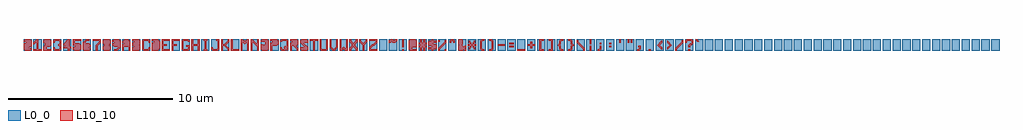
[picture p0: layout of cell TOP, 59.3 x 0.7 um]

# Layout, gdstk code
import gdstk
lib = gdstk.Library(unit=1e-6, precision=1e-09)
def R(c, l, rs):  # rectangles x0, y0, x1, y1
    for r in rs: c.add(gdstk.rectangle(r[:2], r[2:], *l))
def A(c, l, x, y, w, h, nx, ny, dx, dy):  # array of equal rectangles
    R(c, l, [(x+i*dx, y+j*dy, x+i*dx+w, y+j*dy+h) for i in range(nx) for j in range(ny)])
def P(c, l, *ps):  # polygons
    for p in ps: c.add(gdstk.Polygon(p, *l))
L0_0 = (0, 0)
L10_10 = (10, 10)

top = lib.new_cell('TOP')
A(top, L0_0, 0, 0, 0.5, 0.7, 99, 1, 0.6, 0)
R(top, L10_10, [(23,0,23.1,0.1), (25.6,0,25.7,0.1), (30,0,30.5,0.1), (34.4,0,34.5,0.3), (38,0,38.1,0.1), (40.4,0,40.5,0.1), (23,0.2,23.1,0.7), (29.5,0.2,29.8,0.3), (35.6,0.2,35.7,0.3), (28.85,0.3,29.25,0.4), (29.5,0.4,29.8,0.5), (34.4,0.4,34.5,0.7), (35,0.4,35.1,0.5), (35.6,0.4,35.7,0.5), (36.2,0.5,36.3,0.7), (36.7,0.5,36.8,0.7), (36.9,0.5,37,0.7), (25.2,0.55,25.3,0.65)])
P(top, L10_10, [(40.949,0.549),(40.8,0.7),(40.95,0.7),(41.049,0.549)],
  [(34.9,0),(34.9,0.1),(34.95,0.1),(35,0.15),(35,0.3),(35.1,0.3),(35.1,0.1),(35,0)],
  [(37.3,0),(37.3,0.1),(37.35,0.1),(37.4,0.15),(37.4,0.2),(37.35,0.2),(37.35,0.3),(37.5,0.3),(37.5,0.1),(37.4,0)],
  [(30.8,0.15),(30.8,0.3),(30.65,0.3),(30.65,0.4),(30.8,0.4),(30.8,0.55),(30.9,0.55),(30.9,0.4),(31.05,0.4),(31.05,0.3),(30.9,0.3),(30.9,0.15)],
  [(27.05,0.1),(27.05,0.2),(27.1,0.25),(27.1,0.3),(27,0.3),(27,0.4),(27.1,0.4),(27.1,0.45),(27.05,0.5),(27.05,0.6),(27.15,0.6),(27.15,0.55),(27.2,0.5),(27.2,0.4),(27.3,0.4),(27.3,0.5),(27.35,0.55),(27.35,0.6),(27.45,0.6),(27.45,0.5),(27.4,0.45),(27.4,0.4),(27.5,0.4),(27.5,0.3),(27.4,0.3),(27.4,0.25),(27.45,0.2),(27.45,0.1),(27.35,0.1),(27.35,0.15),(27.3,0.2),(27.3,0.3),(27.2,0.3),(27.2,0.2),(27.15,0.15),(27.15,0.1)],
  [(38.75,0.1),(38.5,0.35),(38.75,0.6),(38.8,0.6),(38.8,0.5),(38.65,0.35),(38.8,0.2),(38.8,0.1)],
  [(39.1,0.1),(39.1,0.2),(39.25,0.35),(39.1,0.5),(39.1,0.6),(39.15,0.6),(39.4,0.35),(39.15,0.1)],
  [(25.2,0),(25.2,0.15),(25.6,0.55),(25.6,0.65),(25.7,0.65),(25.7,0.5),(25.3,0.1),(25.3,0)],
  [(34,0),(34,0.1),(33.6,0.5),(33.6,0.65),(33.7,0.65),(33.7,0.55),(34.1,0.15),(34.1,0)],
  [(39.6,0),(39.6,0.15),(40,0.55),(40,0.65),(40.1,0.65),(40.1,0.5),(39.7,0.1),(39.7,0)],
  [(22.2,0.5),(22.2,0.6),(22.3,0.7),(22.45,0.7),(22.525,0.625),(22.6,0.7),(22.7,0.7),(22.7,0.6),(22.6,0.5),(22.45,0.5),(22.375,0.575),(22.3,0.5)],
  [(23.5,0),(23.4,0.1),(23.4,0.6),(23.5,0.7),(23.8,0.7),(23.9,0.6),(23.9,0.25),(23.85,0.2),(23.613,0.2),(23.613,0.1),(23.9,0.1),(23.9,0)],
  [(24.1,0),(24.1,0.2),(24,0.2),(24,0.3),(24.1,0.3),(24.1,0.4),(24,0.4),(24,0.5),(24.1,0.5),(24.1,0.7),(24.2,0.7),(24.2,0.5),(24.3,0.5),(24.3,0.7),(24.4,0.7),(24.4,0.5),(24.5,0.5),(24.5,0.4),(24.4,0.4),(24.4,0.3),(24.5,0.3),(24.5,0.2),(24.4,0.2),(24.4,0),(24.3,0),(24.3,0.2),(24.2,0.2),(24.2,0)],
  [(24.8,0),(24.8,0.1),(24.6,0.1),(24.6,0.2),(24.8,0.2),(24.8,0.3),(24.65,0.3),(24.6,0.35),(24.6,0.55),(24.65,0.6),(24.8,0.6),(24.8,0.7),(24.9,0.7),(24.9,0.6),(25.1,0.6),(25.1,0.5),(24.9,0.5),(24.9,0.4),(25.05,0.4),(25.1,0.35),(25.1,0.15),(25.05,0.1),(24.9,0.1),(24.9,0)],
  [(25.9,0.5),(25.9,0.6),(26,0.7),(26.1,0.7),(26.2,0.6),(26.2,0.5),(26.1,0.5),(26.1,0.55),(26.05,0.6),(26,0.55),(26,0.5)],
  [(26.45,0),(26.4,0.05),(26.4,0.3),(26.45,0.35),(26.4,0.4),(26.4,0.65),(26.45,0.7),(26.65,0.7),(26.7,0.65),(26.7,0.4),(26.65,0.35),(26.75,0.25),(26.8,0.3),(26.9,0.3),(26.9,0.2),(26.85,0.15),(26.9,0.1),(26.9,0),(26.8,0),(26.75,0.05),(26.7,0)],
  [(27.85,0),(27.75,0.1),(27.75,0.6),(27.85,0.7),(28,0.7),(28,0.6),(27.9,0.6),(27.85,0.55),(27.85,0.15),(27.9,0.1),(28,0.1),(28,0)],
  [(28.3,0),(28.3,0.1),(28.4,0.1),(28.45,0.15),(28.45,0.55),(28.4,0.6),(28.3,0.6),(28.3,0.7),(28.45,0.7),(28.55,0.6),(28.55,0.1),(28.45,0)],
  [(31.35,0),(31.35,0.7),(31.6,0.7),(31.6,0.6),(31.45,0.6),(31.45,0.1),(31.6,0.1),(31.6,0)],
  [(31.9,0),(31.9,0.1),(32.05,0.1),(32.05,0.6),(31.9,0.6),(31.9,0.7),(32.15,0.7),(32.15,0)],
  [(32.65,0),(32.55,0.1),(32.55,0.25),(32.45,0.35),(32.55,0.45),(32.55,0.6),(32.65,0.7),(32.8,0.7),(32.8,0.6),(32.7,0.6),(32.65,0.55),(32.65,0.4),(32.6,0.35),(32.65,0.3),(32.65,0.15),(32.7,0.1),(32.8,0.1),(32.8,0)],
  [(33.1,0),(33.1,0.1),(33.2,0.1),(33.25,0.15),(33.25,0.3),(33.3,0.35),(33.25,0.4),(33.25,0.55),(33.2,0.6),(33.1,0.6),(33.1,0.7),(33.25,0.7),(33.35,0.6),(33.35,0.45),(33.45,0.35),(33.35,0.25),(33.35,0.1),(33.25,0)],
  [(40.4,0.2),(40.4,0.35),(40.5,0.45),(40.55,0.45),(40.6,0.5),(40.6,0.55),(40.55,0.6),(40.35,0.6),(40.3,0.55),(40.3,0.5),(40.2,0.5),(40.2,0.6),(40.3,0.7),(40.6,0.7),(40.7,0.6),(40.7,0.45),(40.6,0.35),(40.55,0.35),(40.5,0.3),(40.5,0.2)],
  [(0.1,0),(0,0.1),(0,0.449),(0.099,0.449),(0.2,0.55),(0,0.55),(0,0.6),(0.1,0.7),(0.4,0.7),(0.5,0.6),(0.5,0.25),(0.4,0.25),(0.3,0.15),(0.5,0.15),(0.5,0.1),(0.4,0)],
  [(0.6,0),(0.6,0.1),(0.8,0.1),(0.8,0.5),(0.75,0.5),(0.65,0.4),(0.6,0.4),(0.6,0.5),(0.8,0.7),(0.9,0.7),(0.9,0.1),(1.1,0.1),(1.1,0)],
  [(1.2,0),(1.2,0.25),(1.3,0.35),(1.3,0.5),(1.2,0.5),(1.2,0.6),(1.3,0.7),(1.6,0.7),(1.7,0.6),(1.7,0.35),(1.6,0.25),(1.4,0.25),(1.4,0.1),(1.7,0.1),(1.7,0)],
  [(1.9,0),(1.8,0.1),(1.8,0.2),(1.9,0.2),(1.9,0.15),(1.95,0.1),(2.15,0.1),(2.2,0.15),(2.2,0.25),(2.15,0.3),(2.1,0.3),(2.1,0.4),(2.15,0.4),(2.2,0.45),(2.2,0.55),(2.15,0.6),(1.95,0.6),(1.9,0.55),(1.9,0.5),(1.8,0.5),(1.8,0.6),(1.9,0.7),(2.2,0.7),(2.3,0.6),(2.3,0.4),(2.25,0.35),(2.3,0.3),(2.3,0.1),(2.2,0)],
  [(2.7,0),(2.7,0.15),(2.4,0.15),(2.4,0.25),(2.5,0.25),(2.5,0.35),(2.4,0.35),(2.4,0.4),(2.7,0.7),(2.8,0.7),(2.8,0.25),(2.9,0.25),(2.9,0.15),(2.8,0.15),(2.8,0)],
  [(3.1,0),(3,0.1),(3,0.2),(3.1,0.2),(3.1,0.35),(3,0.35),(3,0.7),(3.5,0.7),(3.5,0.6),(3.1,0.6),(3.1,0.45),(3.4,0.45),(3.5,0.35),(3.5,0.1),(3.4,0)],
  [(3.7,0),(3.6,0.1),(3.6,0.5),(3.8,0.7),(4,0.7),(4,0.6),(3.85,0.6),(3.75,0.5),(3.75,0.45),(4,0.45),(4.1,0.35),(4.1,0.25),(4,0.25),(4,0.15),(4.1,0.15),(4.1,0.1),(4,0)],
  [(4.4,0),(4.4,0.35),(4.6,0.55),(4.6,0.6),(4.2,0.6),(4.2,0.7),(4.7,0.7),(4.7,0.5),(4.5,0.3),(4.5,0)],
  [(4.9,0),(4.8,0.1),(4.8,0.249),(4.901,0.35),(4.8,0.449),(4.8,0.6),(4.9,0.7),(5.2,0.7),(5.3,0.6),(5.3,0.449),(5.201,0.35),(5.3,0.25),(5.3,0.1),(5.2,0)],
  [(5.5,0),(5.5,0.1),(5.65,0.1),(5.75,0.2),(5.75,0.25),(5.5,0.25),(5.4,0.35),(5.4,0.45),(5.5,0.45),(5.5,0.55),(5.4,0.55),(5.4,0.6),(5.5,0.7),(5.8,0.7),(5.9,0.6),(5.9,0.2),(5.7,0)],
  [(6,0),(6,0.4),(6.1,0.4),(6.1,0.5),(6,0.5),(6,0.55),(6.15,0.7),(6.35,0.7),(6.5,0.55),(6.5,0),(6.4,0),(6.4,0.25),(6.1,0.25),(6.1,0)],
  [(6.6,0),(6.6,0.2),(6.7,0.2),(6.7,0.3),(6.6,0.3),(6.6,0.5),(6.7,0.5),(6.7,0.6),(6.6,0.6),(6.6,0.7),(7,0.7),(7.1,0.6),(7.1,0.4),(7.05,0.35),(7.1,0.3),(7.1,0.1),(7,0)],
  [(7.3,0),(7.2,0.1),(7.2,0.6),(7.3,0.7),(7.6,0.7),(7.7,0.6),(7.7,0.5),(7.6,0.5),(7.6,0.55),(7.55,0.6),(7.35,0.6),(7.3,0.55),(7.3,0.15),(7.35,0.1),(7.55,0.1),(7.6,0.15),(7.6,0.2),(7.7,0.2),(7.7,0.1),(7.6,0)],
  [(7.8,0),(7.8,0.5),(7.9,0.5),(7.9,0.6),(7.8,0.6),(7.8,0.7),(8.15,0.7),(8.3,0.55),(8.3,0.15),(8.15,0)],
  [(8.4,0),(8.4,0.7),(8.9,0.7),(8.9,0.6),(8.5,0.6),(8.5,0.4),(8.7,0.4),(8.7,0.3),(8.5,0.3),(8.5,0.1),(8.9,0.1),(8.9,0)],
  [(9,0),(9,0.7),(9.5,0.7),(9.5,0.6),(9.1,0.6),(9.1,0.4),(9.3,0.4),(9.3,0.3),(9.1,0.3),(9.1,0)],
  [(9.7,0),(9.6,0.1),(9.6,0.6),(9.7,0.7),(10,0.7),(10.1,0.6),(10.1,0.55),(10,0.55),(9.95,0.6),(9.75,0.6),(9.7,0.55),(9.7,0.15),(9.75,0.1),(9.95,0.1),(10,0.15),(10,0.25),(9.9,0.25),(9.9,0.34),(10.1,0.34),(10.1,0.1),(10,0)],
  [(10.2,0),(10.2,0.7),(10.3,0.7),(10.3,0.4),(10.6,0.4),(10.6,0.7),(10.7,0.7),(10.7,0),(10.6,0),(10.6,0.3),(10.3,0.3),(10.3,0)],
  [(10.95,0),(10.95,0.1),(11,0.1),(11,0.6),(10.95,0.6),(10.95,0.7),(11.15,0.7),(11.15,0.6),(11.1,0.6),(11.1,0.1),(11.15,0.1),(11.15,0)],
  [(11.5,0),(11.4,0.1),(11.4,0.2),(11.5,0.2),(11.5,0.15),(11.55,0.1),(11.75,0.1),(11.8,0.15),(11.8,0.6),(11.7,0.6),(11.7,0.7),(11.9,0.7),(11.9,0.1),(11.8,0)],
  [(12,0),(12,0.7),(12.1,0.7),(12.1,0.4),(12.2,0.4),(12.4,0.6),(12.4,0.7),(12.5,0.7),(12.5,0.55),(12.3,0.35),(12.5,0.15),(12.5,0),(12.4,0),(12.4,0.1),(12.2,0.3),(12.1,0.3),(12.1,0)],
  [(12.6,0),(12.6,0.7),(12.7,0.7),(12.7,0.1),(13.1,0.1),(13.1,0)],
  [(13.2,0),(13.2,0.7),(13.3,0.7),(13.4,0.6),(13.5,0.6),(13.6,0.7),(13.7,0.7),(13.7,0),(13.6,0),(13.6,0.5),(13.55,0.5),(13.45,0.4),(13.35,0.5),(13.3,0.5),(13.3,0)],
  [(13.8,0),(13.8,0.7),(13.9,0.7),(14.15,0.45),(14.2,0.45),(14.2,0.7),(14.3,0.7),(14.3,0),(14.2,0),(14.2,0.25),(13.95,0.5),(13.9,0.5),(13.9,0)],
  [(14.5,0),(14.4,0.1),(14.4,0.4),(14.5,0.4),(14.5,0.351),(14.7,0.351),(14.7,0.55),(14.4,0.55),(14.4,0.6),(14.5,0.7),(14.8,0.7),(14.9,0.6),(14.9,0.1),(14.8,0)],
  [(15,0),(15,0.5),(15.1,0.5),(15.1,0.6),(15,0.6),(15,0.7),(15.4,0.7),(15.5,0.6),(15.5,0.4),(15.4,0.3),(15.1,0.3),(15.1,0)],
  [(15.7,0),(15.6,0.1),(15.6,0.2),(15.7,0.2),(15.7,0.15),(15.75,0.1),(15.85,0.1),(15.85,0.15),(15.8,0.2),(15.9,0.3),(15.95,0.25),(16,0.25),(16,0.55),(15.95,0.6),(15.75,0.6),(15.7,0.55),(15.6,0.55),(15.6,0.6),(15.7,0.7),(16,0.7),(16.1,0.6),(16.1,0.2),(16.05,0.15),(16.1,0.1),(16,0),(15.95,0.05),(15.9,0)],
  [(16.2,0),(16.2,0.5),(16.3,0.5),(16.3,0.6),(16.2,0.6),(16.2,0.7),(16.6,0.7),(16.7,0.6),(16.7,0.4),(16.6,0.3),(16.6,0.25),(16.7,0.15),(16.7,0),(16.6,0),(16.6,0.1),(16.4,0.3),(16.3,0.3),(16.3,0)],
  [(16.9,0),(16.8,0.1),(16.8,0.2),(17.099,0.2),(16.8,0.499),(16.8,0.6),(16.9,0.7),(17.2,0.7),(17.3,0.6),(17.3,0.5),(17.001,0.5),(17.3,0.201),(17.3,0.1),(17.2,0)],
  [(17.6,0),(17.6,0.6),(17.4,0.6),(17.4,0.7),(17.9,0.7),(17.9,0.6),(17.7,0.6),(17.7,0)],
  [(18.1,0),(18,0.1),(18,0.7),(18.1,0.7),(18.1,0.15),(18.15,0.1),(18.35,0.1),(18.4,0.15),(18.4,0.7),(18.5,0.7),(18.5,0.1),(18.4,0)],
  [(18.8,0),(18.6,0.2),(18.6,0.7),(18.7,0.7),(18.7,0.25),(18.85,0.1),(19,0.25),(19,0.7),(19.1,0.7),(19.1,0.2),(18.9,0)],
  [(19.2,0),(19.2,0.7),(19.3,0.7),(19.3,0.15),(19.35,0.15),(19.45,0.25),(19.55,0.15),(19.6,0.15),(19.6,0.7),(19.7,0.7),(19.7,0),(19.55,0),(19.45,0.1),(19.35,0)],
  [(19.8,0),(19.8,0.15),(19.95,0.3),(19.95,0.4),(19.8,0.55),(19.8,0.7),(19.9,0.7),(19.9,0.6),(20.05,0.45),(20.2,0.6),(20.2,0.7),(20.3,0.7),(20.3,0.55),(20.15,0.4),(20.15,0.3),(20.3,0.15),(20.3,0),(20.2,0),(20.2,0.1),(20.05,0.25),(19.9,0.1),(19.9,0)],
  [(20.6,0),(20.6,0.35),(20.4,0.55),(20.4,0.7),(20.5,0.7),(20.5,0.6),(20.65,0.45),(20.8,0.6),(20.8,0.7),(20.9,0.7),(20.9,0.55),(20.7,0.35),(20.7,0)],
  [(21,0),(21,0.2),(21.2,0.4),(21.25,0.4),(21.4,0.55),(21.4,0.6),(21,0.6),(21,0.7),(21.5,0.7),(21.5,0.5),(21.3,0.3),(21.25,0.3),(21.1,0.15),(21.1,0.1),(21.5,0.1),(21.5,0)])

lib.write_gds('TOP.gds')
